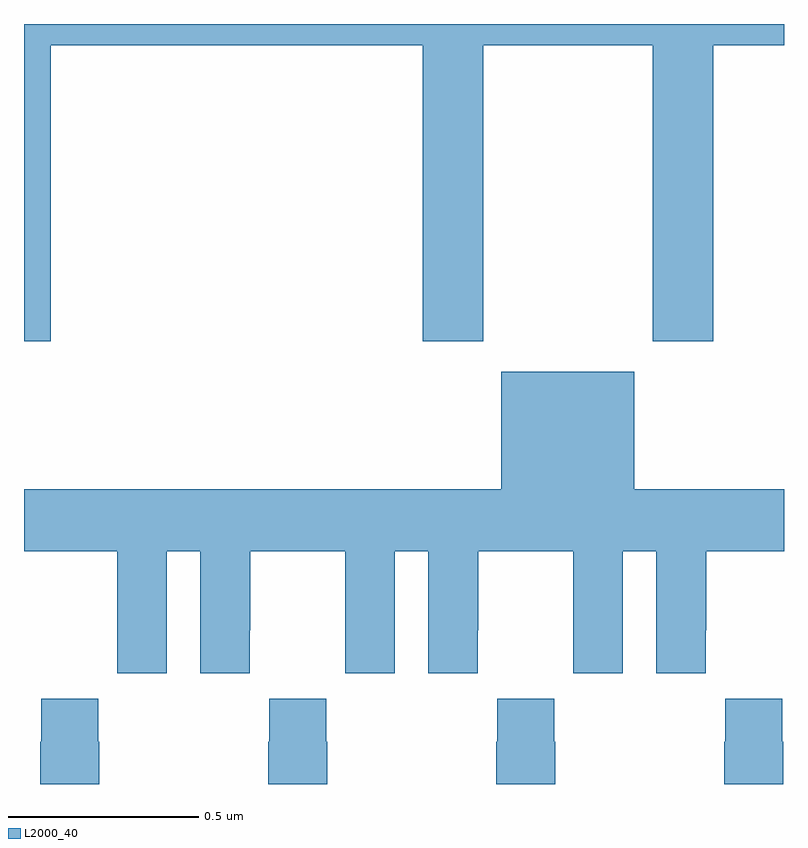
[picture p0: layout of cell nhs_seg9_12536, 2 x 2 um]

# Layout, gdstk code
import gdstk
lib = gdstk.Library(unit=1e-6, precision=1e-09)
def P(c, l, *ps):  # polygons
    for p in ps: c.add(gdstk.Polygon(p, *l))
L2000_40 = (2000, 40)

nhs_seg9_12536 = lib.new_cell('nhs_seg9_12536')
P(nhs_seg9_12536, L2000_40, [(270.071,1172.444),(271.049,1172.444),(271.049,1171.665),(271.209,1171.665),(271.209,1172.444),(271.654,1172.444),(271.654,1171.665),(271.814,1171.665),(271.814,1172.444),(272,1172.444),(272,1172.5),(270,1172.5),(270,1171.665),(270.071,1171.665)],
  [(270.376,1171.112),(270.464,1171.112),(270.464,1170.792),(270.594,1170.792),(270.594,1170.904),(270.595,1170.904),(270.595,1171.112),(270.845,1171.112),(270.845,1170.904),(270.846,1170.904),(270.846,1170.792),(270.976,1170.792),(270.976,1171.112),(271.064,1171.112),(271.064,1170.792),(271.194,1170.792),(271.194,1170.904),(271.195,1170.904),(271.195,1171.112),(271.445,1171.112),(271.445,1170.904),(271.446,1170.904),(271.446,1170.792),(271.576,1170.792),(271.576,1171.112),(271.664,1171.112),(271.664,1170.792),(271.794,1170.792),(271.794,1170.904),(271.795,1170.904),(271.795,1171.112),(272,1171.112),(272,1171.276),(271.606,1171.276),(271.606,1171.585),(271.256,1171.585),(271.256,1171.276),(270,1171.276),(270,1171.112),(270.245,1171.112),(270.245,1170.904),(270.246,1170.904),(270.246,1170.792),(270.376,1170.792)],
  [(270.198,1170.611),(270.195,1170.611),(270.195,1170.724),(270.045,1170.724),(270.045,1170.611),(270.043,1170.611),(270.043,1170.5),(270.198,1170.5)],
  [(270.798,1170.611),(270.795,1170.611),(270.795,1170.724),(270.645,1170.724),(270.645,1170.611),(270.643,1170.611),(270.643,1170.5),(270.798,1170.5)],
  [(271.398,1170.611),(271.395,1170.611),(271.395,1170.724),(271.245,1170.724),(271.245,1170.611),(271.243,1170.611),(271.243,1170.5),(271.398,1170.5)],
  [(271.998,1170.611),(271.995,1170.611),(271.995,1170.724),(271.845,1170.724),(271.845,1170.611),(271.843,1170.611),(271.843,1170.5),(271.998,1170.5)])

lib.write_gds('nhs_seg9_12536.gds')
